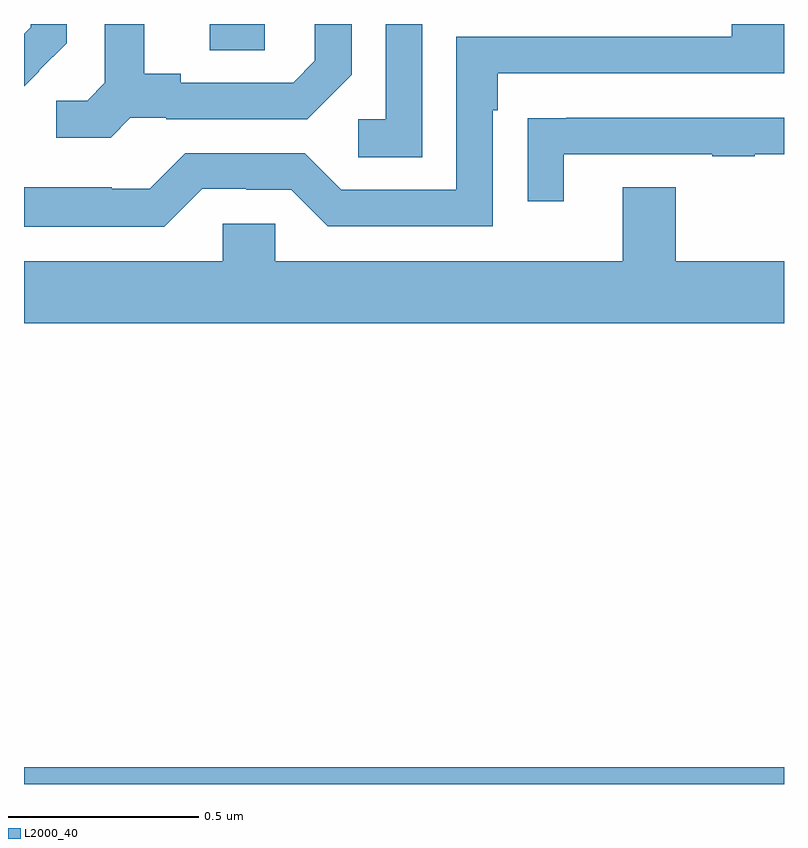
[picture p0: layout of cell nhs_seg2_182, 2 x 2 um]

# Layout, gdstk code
import gdstk
lib = gdstk.Library(unit=1e-6, precision=1e-09)
def R(c, l, rs):  # rectangles x0, y0, x1, y1
    for r in rs: c.add(gdstk.rectangle(r[:2], r[2:], *l))
def P(c, l, *ps):  # polygons
    for p in ps: c.add(gdstk.Polygon(p, *l))
L2000_40 = (2000, 40)

nhs_seg2_182 = lib.new_cell('nhs_seg2_182')
R(nhs_seg2_182, L2000_40, [(113,603.8,115,603.844), (113.489,605.731,113.634,605.8)])
P(nhs_seg2_182, L2000_40, [(113.04,605.676),(113.039,605.677),(113.112,605.75),(113.112,605.8),(113.018,605.8),(113.018,605.792),(113,605.774),(113,605.636)],
  [(113.469,605.367),(113.585,605.367),(113.585,605.364),(113.703,605.364),(113.799,605.268),(114.234,605.268),(114.234,605.573),(114.247,605.573),(114.247,605.67),(115,605.67),(115,605.8),(114.863,605.8),(114.863,605.766),(114.138,605.766),(114.138,605.364),(113.835,605.364),(113.739,605.46),(113.424,605.46),(113.331,605.367),(113.231,605.367),(113.231,605.371),(113,605.371),(113,605.267),(113.369,605.267)],
  [(113.28,605.553),(113.374,605.553),(113.374,605.55),(113.746,605.55),(113.862,605.666),(113.862,605.8),(113.765,605.8),(113.765,605.703),(113.708,605.646),(113.413,605.646),(113.413,605.669),(113.317,605.669),(113.317,605.8),(113.213,605.8),(113.213,605.645),(113.166,605.598),(113.085,605.598),(113.085,605.501),(113.228,605.501)],
  [(114.048,605.8),(113.952,605.8),(113.952,605.55),(113.88,605.55),(113.88,605.449),(114.048,605.449)],
  [(114.421,605.457),(114.811,605.457),(114.811,605.452),(114.923,605.452),(114.923,605.457),(115,605.457),(115,605.553),(114.427,605.553),(114.427,605.552),(114.325,605.552),(114.325,605.334),(114.421,605.334)],
  [(115,605.176),(114.715,605.176),(114.715,605.371),(114.575,605.371),(114.575,605.176),(113.661,605.176),(113.661,605.274),(113.523,605.274),(113.523,605.176),(113,605.176),(113,605.012),(115,605.012)])

lib.write_gds('nhs_seg2_182.gds')
